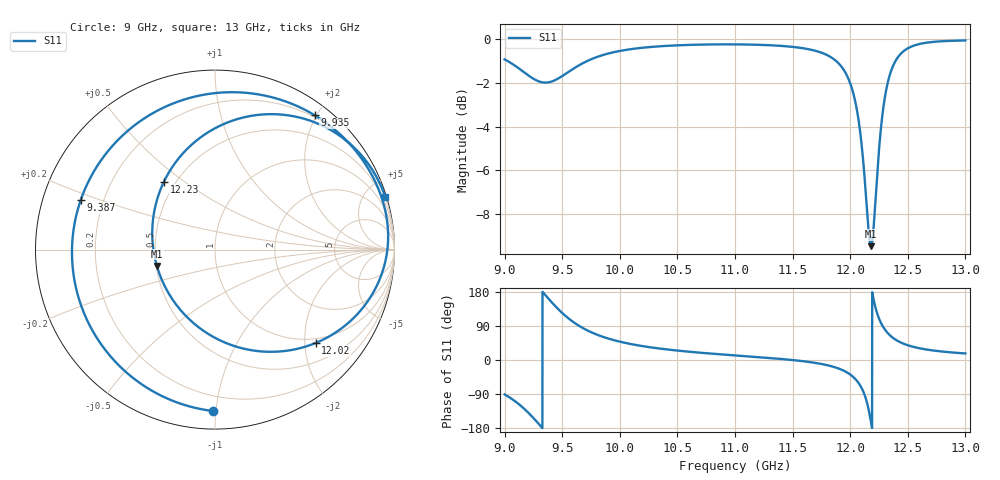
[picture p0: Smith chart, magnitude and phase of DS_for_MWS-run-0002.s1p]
! TOUCHSTONE file generated by CST DESIGN STUDIO
! Date and time: Tue Feb  4 13:42:00 2025
! Project name: C:\Work\MatlabApps\UnitCellOptimizationMatlab\CST\unitcell.cst
! Tree item: Tasks\Sweep1\SPara1\S-Parameters
! Header version: 2024
! Port assignment regex: !\s*Touchstone port\s*([0-9]+)\s*=\s*(CST MWS port|CST DES external port|CST DES block port)\s*(.+)\s* \(\"(.*)\"\)(\s*mode\s*([0-9]+))?.*
! Touchstone port assignment:
! Touchstone port 1 = CST DES external port 1 ("")
# GHz S MA R 50
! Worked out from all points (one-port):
!   4001 points, 9 GHz to 13 GHz, reference 50 ohm
!   lowest |S11| = -9.5 dB at 12.18 GHz (marker M1), VSWR 2.01, Z = 25.2 - j5.19 ohm
!   |S11| at or under -10 dB: nowhere
!   S11 on the Smith chart (normalised r, x): 9 GHz: 0.10, -0.98; 9.387 GHz: 0.12, +0.18; 9.935 GHz: 0.17, +1.97; 12.02 GHz: 0.89, -2.25; 12.23 GHz: 0.43, +0.42; 13 GHz: 0.15, +6.59
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9  0.8991 -90.9
9.095  0.8681 -109.8
9.179  0.8364 -131.3
9.289  0.8024 -166.2
9.387  0.7974 159.7
9.5  0.8235 124.1
9.576  0.8489 104.7
9.663  0.8766 87.1
9.792  0.9086 68.1
9.935  0.9322 53.5
10  0.9399 48.4
10.5  0.9681 24.9
11  0.973 12.1
11.5  0.9602 -0.1
11.831  0.9101 -16.0
11.927  0.8634 -25.8
12  0.7928 -38.3
12.019  0.7652 -42.8
12.111  0.5335 -81.4
12.145  0.4097 -111.6
12.181  0.3365 -164.2
12.23  0.4731 127.0
12.272  0.6448 95.0
12.318  0.7784 73.8
12.398  0.8962 52.9
12.5  0.953 38.9
12.684  0.9834 26.6
13  0.9933 17.2
